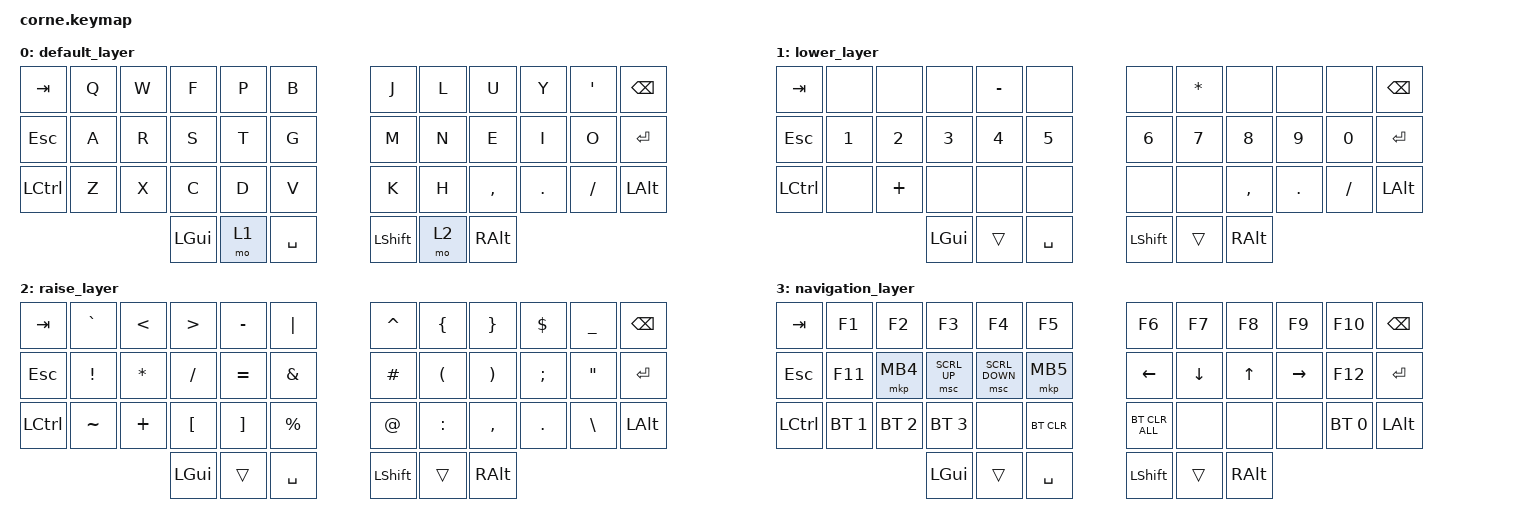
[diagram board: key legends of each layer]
/*
 * Copyright (c) 2020 The ZMK Contributors
 *
 * SPDX-License-Identifier: MIT
 */

#include <behaviors.dtsi>
#include <dt-bindings/zmk/keys.h>
#include <dt-bindings/zmk/bt.h>
#include <dt-bindings/zmk/pointing.h>
#include <dt-bindings/zmk/mouse.h>

/ {
        conditional_layers {
                compatible = "zmk,conditional-layers";
                navigation_layer {
                        if-layers = <1 2>;
                        then-layer = <3>;
                };
        };


        keymap {
                compatible = "zmk,keymap";

                default_layer {
// -----------------------------------------------------------------------------------------
// |  TAB |  Q  |  W  |  E  |  R  |  T  |   |  Y  |  U   |  I  |  O  |  P  | BSPC |
// | CTRL |  A  |  S  |  D  |  F  |  G  |   |  H  |  J   |  K  |  L  |  ;  |  '   |
// | SHFT |  Z  |  X  |  C  |  V  |  B  |   |  N  |  M   |  ,  |  .  |  /  | ESC  |
//                    | GUI | LWR | SPC |   | ENT | RSE  | ALT |
                        bindings = <
   &kp TAB   &kp Q &kp W &kp F &kp P &kp B   &kp J &kp L  &kp U     &kp Y   &kp SQT  &kp BSPC
   &kp ESC   &kp A &kp R &kp S &kp T &kp G   &kp M &kp N  &kp E     &kp I   &kp O    &kp RET
   &kp LCTRL &kp Z &kp X &kp C &kp D &kp V   &kp K &kp H  &kp COMMA &kp DOT &kp FSLH &kp LALT
                  &kp LGUI &mo 1 &kp SPACE   &kp LSHFT &mo 2 &kp RALT

                        >;
                };
                lower_layer {
// -----------------------------------------------------------------------------------------
// |  TAB |  1  |  2  |  3  |  4  |  5  |   |  6  |  7  |  8  |  9  |  0  | BSPC |
// | BTCLR| BT1 | BT2 | BT3 | BT4 | BT5 |   | LFT | DWN |  UP | RGT |     |      |
// | SHFT |     |     |     |     |     |   |     |     |     |     |     |      |
//                    | GUI |     | SPC |   | ENT |     | ALT |
                        bindings = <
   &kp TAB   &none  &none    &none  &kp MINUS &none    &none  &kp STAR &none     &none   &none     &kp BSPC
   &kp ESC   &kp N1 &kp N2   &kp N3 &kp N4    &kp N5   &kp N6 &kp N7   &kp N8    &kp N9  &kp N0    &kp RET
   &kp LCTRL &none  &kp PLUS &none  &none     &none    &none  &none    &kp COMMA &kp DOT &kp FSLH  &kp LALT
                           &kp LGUI &trans &kp SPACE   &kp LSHIFT &trans &kp RALT
                        >;
                };
                raise_layer {
// -----------------------------------------------------------------------------------------
// |  TAB |  !  |  @  |  #  |  $  |  %  |   |  ^  |  &  |  *  |  (  |  )  | BSPC |
// | CTRL |     |     |     |     |     |   |  -  |  =  |  [  |  ]  |  \  |  `   |
// | SHFT |     |     |     |     |     |   |  _  |  +  |  {  |  }  | "|" |  ~   |
//                    | GUI |     | SPC |   | ENT |     | ALT |
                        bindings = <
   &kp TAB   &kp GRAVE &kp LT   &kp GT   &kp MINUS &kp PIPE    &kp CARET &kp LBRC  &kp RBRC  &kp DLLR &kp UNDER &kp BSPC
   &kp ESC   &kp EXCL  &kp STAR &kp FSLH &kp EQUAL &kp AMPS    &kp HASH  &kp LPAR  &kp RPAR  &kp SEMI &kp DQT   &kp RET
   &kp LCTRL &kp TILDE &kp PLUS &kp LBKT &kp RBKT  &kp PRCNT   &kp AT    &kp COLON &kp COMMA &kp DOT  &kp BSLH  &kp LALT
                                   &kp LGUI &trans &kp SPACE   &kp LSHIFT &trans &kp RALT
                        >;
                };
                navigation_layer {
// 
                        bindings = <
   &kp TAB   &kp F1       &kp  F2       &kp  F3       &kp  F4        &kp  F5      &kp F6         &kp F7   &kp F8 &kp F9    &kp F10      &kp BSPC 
   &kp ESC   &kp F11      &mkp MB4      &msc SCRL_UP  &msc SCRL_DOWN &mkp MB5     &kp LEFT       &kp DOWN &kp UP &kp RIGHT &kp F12      &kp RET 
   &kp LCTRL &bt BT_SEL 1 &bt  BT_SEL 2 &bt  BT_SEL 3 &none          &bt  BT_CLR  &bt BT_CLR_ALL &none    &none  &none     &bt BT_SEL 0 &kp LALT
                                                     &kp LGUI &trans &kp  SPACE   &kp LSHIFT &trans &kp RALT
                        >;
                };
        };
};
